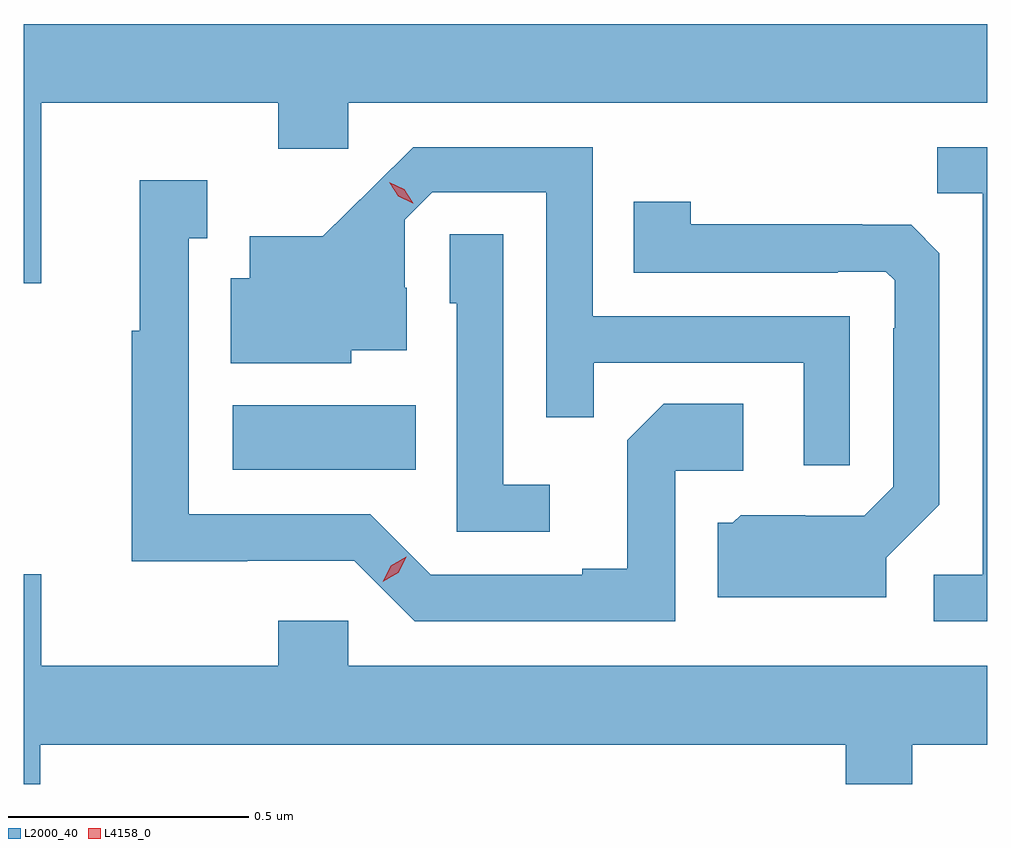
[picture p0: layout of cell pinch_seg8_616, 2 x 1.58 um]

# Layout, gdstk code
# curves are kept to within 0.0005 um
import gdstk
lib = gdstk.Library(unit=1e-6, precision=1e-09)
def R(c, l, rs):  # rectangles x0, y0, x1, y1
    for r in rs: c.add(gdstk.rectangle(r[:2], r[2:], *l))
def P(c, l, *ps):  # polygons
    for p in ps: c.add(gdstk.Polygon(p, *l))
L2000_40 = (2000, 40)
L4158_0 = (4158, 0)

pinch_seg8_616 = lib.new_cell('pinch_seg8_616')
R(pinch_seg8_616, L2000_40, [(129.606,1099.754,129.986,1099.888)])
P(pinch_seg8_616, L2000_40, [(129.208,1100.516),(129.7,1100.516),(129.7,1100.421),(129.846,1100.421),(129.846,1100.516),(131.172,1100.516),(131.172,1100.68),(129.172,1100.68),(129.172,1100.142),(129.208,1100.142)],
  [(130.887,1100.073),(130.353,1100.073),(130.353,1100.424),(129.98,1100.424),(129.793,1100.239),(129.641,1100.239),(129.641,1100.152),(129.602,1100.152),(129.602,1099.976),(129.852,1099.976),(129.852,1100.003),(129.967,1100.003),(129.967,1100.132),(129.963,1100.132),(129.963,1100.274),(130.02,1100.331),(130.257,1100.331),(130.257,1099.864),(130.355,1099.864),(130.355,1099.977),(130.791,1099.977),(130.791,1099.764),(130.887,1099.764)],
  [(131.172,1100.424),(131.068,1100.424),(131.068,1100.329),(131.163,1100.329),(131.163,1099.536),(131.061,1099.536),(131.061,1099.44),(131.172,1099.44)],
  [(130.524,1099.752),(130.666,1099.752),(130.666,1099.892),(130.501,1099.892),(130.425,1099.816),(130.425,1099.549),(130.331,1099.549),(130.331,1099.536),(130.017,1099.536),(129.891,1099.662),(129.514,1099.662),(129.514,1100.235),(129.553,1100.235),(129.553,1100.356),(129.413,1100.356),(129.413,1100.043),(129.396,1100.043),(129.396,1099.565),(129.636,1099.565),(129.636,1099.566),(129.858,1099.566),(129.984,1099.44),(130.524,1099.44)],
  [(130.963,1099.572),(131.073,1099.682),(131.073,1100.204),(131.014,1100.263),(130.913,1100.263),(130.913,1100.264),(130.557,1100.264),(130.557,1100.311),(130.438,1100.311),(130.438,1100.163),(130.862,1100.163),(130.862,1100.166),(130.962,1100.166),(130.98,1100.148),(130.98,1100.048),(130.977,1100.048),(130.977,1099.719),(130.917,1099.659),(130.794,1099.659),(130.794,1099.66),(130.66,1099.66),(130.644,1099.644),(130.613,1099.644),(130.613,1099.49),(130.963,1099.49)],
  [(130.264,1099.723),(130.167,1099.723),(130.167,1100.243),(130.056,1100.243),(130.056,1100.1),(130.071,1100.1),(130.071,1099.626),(130.264,1099.626)],
  [(129.206,1099.184),(130.878,1099.184),(130.878,1099.102),(131.017,1099.102),(131.017,1099.184),(131.172,1099.184),(131.172,1099.348),(129.846,1099.348),(129.846,1099.441),(129.7,1099.441),(129.7,1099.348),(129.208,1099.348),(129.208,1099.537),(129.172,1099.537),(129.172,1099.102),(129.206,1099.102)])
P(pinch_seg8_616, L4158_0, [(129.917,1099.522),(129.917,1099.522),(129.934,1099.555),(129.966,1099.574),(129.966,1099.574),(129.966,1099.573),(129.949,1099.541),(129.917,1099.522)],
  [(129.979,1100.308),(129.949,1100.322),(129.931,1100.351),(129.931,1100.351),(129.931,1100.351),(129.962,1100.337),(129.98,1100.308),(129.98,1100.308)])

lib.write_gds('pinch_seg8_616.gds')
